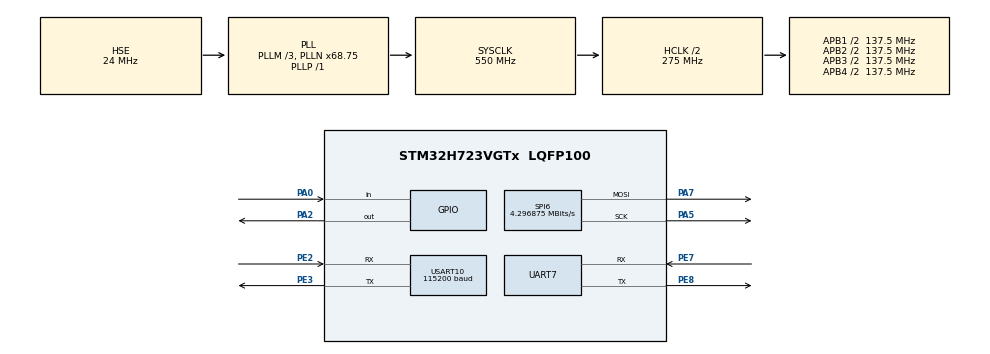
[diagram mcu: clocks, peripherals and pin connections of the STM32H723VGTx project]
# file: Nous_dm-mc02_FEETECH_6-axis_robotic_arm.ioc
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CORTEX_M7.CPU_ICache=Enabled
CORTEX_M7.MPU_Control=__NULL
CORTEX_M7.default_mode_Activation=1
Mcu.Family=STM32H7
Mcu.Name=STM32H723VGTx
Mcu.Package=LQFP100
NVIC.PriorityGroup=NVIC_PRIORITYGROUP_4
NVIC.UART7_IRQn=true\:0\:0\:false\:false\:true\:true\:true\:true
NVIC.USART10_IRQn=true\:0\:0\:false\:false\:true\:true\:true\:true
PA0.GPIO_PuPd=GPIO_PULLUP
PA0.Signal=GPIO_Input
PA13(JTMS/SWDIO).Mode=Serial_Wire
PA13(JTMS/SWDIO).Signal=DEBUG_JTMS-SWDIO
PA14(JTCK/SWCLK).Mode=Serial_Wire
PA14(JTCK/SWCLK).Signal=DEBUG_JTCK-SWCLK
PA2.GPIO_PuPd=GPIO_PULLUP
PA2.PinState=GPIO_PIN_RESET
PA2.Signal=GPIO_Output
PA5.Mode=TX_Only_Simplex_Unidirect_Master
PA5.Signal=SPI6_SCK
PA7.Mode=TX_Only_Simplex_Unidirect_Master
PA7.Signal=SPI6_MOSI
PE2.Mode=Asynchronous
PE2.Signal=USART10_RX
PE3.Mode=Asynchronous
PE3.Signal=USART10_TX
PE7.Mode=Asynchronous
PE7.Signal=UART7_RX
PE8.Mode=Asynchronous
PE8.Signal=UART7_TX
PH0-OSC_IN.Mode=HSE-External-Oscillator
PH0-OSC_IN.Signal=RCC_OSC_IN
PH1-OSC_OUT.Mode=HSE-External-Oscillator
PH1-OSC_OUT.Signal=RCC_OSC_OUT
ProjectManager.HeapSize=0x200
ProjectManager.StackSize=0x400
ProjectManager.TargetToolchain=MDK-ARM V5.32
RCC.ADCFreq_Value=48375000
RCC.APB1Freq_Value=137500000
RCC.APB2Freq_Value=137500000
RCC.APB3Freq_Value=137500000
RCC.APB4Freq_Value=137500000
RCC.CortexFreq_Value=550000000
RCC.D1PPRE=RCC_APB3_DIV2
RCC.D2PPRE1=RCC_APB1_DIV2
RCC.D2PPRE2=RCC_APB2_DIV2
RCC.D3PPRE=RCC_APB4_DIV2
RCC.DIVM1=3
RCC.DIVN1=68
RCC.DIVP1=1
RCC.HCLKFreq_Value=275000000
RCC.HPRE=RCC_HCLK_DIV2
RCC.HSE_VALUE=24000000
RCC.PLL2FRACN=0
RCC.PLL3FRACN=0
RCC.PLLFRACN=6144
RCC.PLLSourceVirtual=RCC_PLLSOURCE_HSE
RCC.SYSCLKFreq_VALUE=550000000
RCC.SYSCLKSource=RCC_SYSCLKSOURCE_PLLCLK
RCC.USBFreq_Value=275000000
SPI6.BaudRatePrescaler=SPI_BAUDRATEPRESCALER_32
SPI6.CLKPhase=SPI_PHASE_2EDGE
SPI6.CalculateBaudRate=4.296875 MBits/s
SPI6.DataSize=SPI_DATASIZE_8BIT
SPI6.Direction=SPI_DIRECTION_2LINES_TXONLY
SPI6.Mode=SPI_MODE_MASTER
SPI6.VirtualType=VM_MASTER
USART10.BaudRate=115200
USART10.VirtualMode=VM_ASYNC
VP_MEMORYMAP_VS_MEMORYMAP.Mode=CurAppReg
board=custom

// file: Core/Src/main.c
/* USER CODE BEGIN Header */
/**
 ******************************************************************************
 * @file           : main.c
 * @brief          : Main program body
 ******************************************************************************
 * @attention
 *
 * Copyright (c) 2026 STMicroelectronics.
 * All rights reserved.
 *
 * This software is licensed under terms that can be found in the LICENSE file
 * in the root directory of this software component.
 * If no LICENSE file comes with this software, it is provided AS-IS.
 *
 ******************************************************************************
 */
/* USER CODE END Header */
#include "main.h"
#include "spi.h"
#include "usart.h"
#include "gpio.h"

/* USER CODE BEGIN Includes */
#include <stdio.h>
#include "test.h"
#include "ws2812.h"
#include "STS3215_control.h"
#include "STS3215_status.h"
#include "Button_switch.h"

/* USER CODE END Includes */

void SystemClock_Config(void);

/* USER CODE BEGIN 0 */
uint8_t i;
/* USER CODE END 0 */

int main(void)
{

  /* Enable the CPU Cache */

  /* Enable I-Cache---------------------------------------------------------*/
  SCB_EnableICache();

  /* MCU Configuration--------------------------------------------------------*/

  /* Reset of all peripherals, Initializes the Flash interface and the Systick. */
  HAL_Init();

  /* Configure the system clock */
  SystemClock_Config();

  /* Initialize all configured peripherals */
  MX_GPIO_Init();
  MX_USART10_UART_Init();
  MX_SPI6_Init();
  MX_UART7_Init();
  /* USER CODE BEGIN 2 */

  // 等待舵机上电启动
  HAL_Delay(500);

  char Data[] = "Hello, UART!   ";
  HAL_UART_Transmit(&huart7, (uint8_t *)Data, sizeof(Data) - 1, 1000);

  printf("UART Started!!\r\n");

  STS3215_Init();
  HAL_Delay(1000);
  /* USER CODE END 2 */

  /* Infinite loop */
  while (1)
  {

    /* USER CODE BEGIN 3 */
    WS2812_Run();
    Get_Button_State();
    STS3215_Get_AllPos_Status();
  }
  /* USER CODE END 3 */
}

void SystemClock_Config(void)
{
  RCC_OscInitTypeDef RCC_OscInitStruct = {0};
  RCC_ClkInitTypeDef RCC_ClkInitStruct = {0};

  /** Supply configuration update enable
  */
  HAL_PWREx_ConfigSupply(PWR_LDO_SUPPLY);

  /** Configure the main internal regulator output voltage
  */
  __HAL_PWR_VOLTAGESCALING_CONFIG(PWR_REGULATOR_VOLTAGE_SCALE0);

  while(!__HAL_PWR_GET_FLAG(PWR_FLAG_VOSRDY)) {}

  /** Initializes the RCC Oscillators according to the specified parameters
  * in the RCC_OscInitTypeDef structure.
  */
  RCC_OscInitStruct.OscillatorType = RCC_OSCILLATORTYPE_HSE;
  RCC_OscInitStruct.HSEState = RCC_HSE_ON;
  RCC_OscInitStruct.PLL.PLLState = RCC_PLL_ON;
  RCC_OscInitStruct.PLL.PLLSource = RCC_PLLSOURCE_HSE;
  RCC_OscInitStruct.PLL.PLLM = 3;
  RCC_OscInitStruct.PLL.PLLN = 68;
  RCC_OscInitStruct.PLL.PLLP = 1;
  RCC_OscInitStruct.PLL.PLLQ = 2;
  RCC_OscInitStruct.PLL.PLLR = 2;
  RCC_OscInitStruct.PLL.PLLRGE = RCC_PLL1VCIRANGE_3;
  RCC_OscInitStruct.PLL.PLLVCOSEL = RCC_PLL1VCOWIDE;
  RCC_OscInitStruct.PLL.PLLFRACN = 6144;
  if (HAL_RCC_OscConfig(&RCC_OscInitStruct) != HAL_OK)
  {
    Error_Handler();
  }

  /** Initializes the CPU, AHB and APB buses clocks
  */
  RCC_ClkInitStruct.ClockType = RCC_CLOCKTYPE_HCLK|RCC_CLOCKTYPE_SYSCLK
                              |RCC_CLOCKTYPE_PCLK1|RCC_CLOCKTYPE_PCLK2
                              |RCC_CLOCKTYPE_D3PCLK1|RCC_CLOCKTYPE_D1PCLK1;
  RCC_ClkInitStruct.SYSCLKSource = RCC_SYSCLKSOURCE_PLLCLK;
  RCC_ClkInitStruct.SYSCLKDivider = RCC_SYSCLK_DIV1;
  RCC_ClkInitStruct.AHBCLKDivider = RCC_HCLK_DIV2;
  RCC_ClkInitStruct.APB3CLKDivider = RCC_APB3_DIV2;
  RCC_ClkInitStruct.APB1CLKDivider = RCC_APB1_DIV2;
  RCC_ClkInitStruct.APB2CLKDivider = RCC_APB2_DIV2;
  RCC_ClkInitStruct.APB4CLKDivider = RCC_APB4_DIV2;

  if (HAL_RCC_ClockConfig(&RCC_ClkInitStruct, FLASH_LATENCY_3) != HAL_OK)
  {
    Error_Handler();
  }
}

void Error_Handler(void)
{
  __disable_irq();
  while (1)
  {
  }
}
